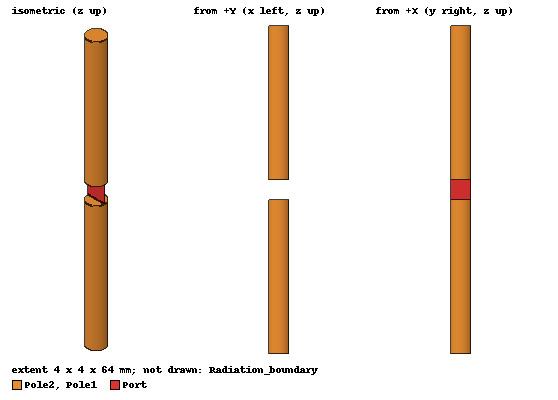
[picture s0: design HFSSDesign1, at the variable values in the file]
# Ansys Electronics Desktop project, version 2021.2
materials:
  vacuum: permittivity=1
  copper: permeability=0.999991 conductivity=58000000

design HFSSDesign1 (HFSS, DrivenModal, model units mm)
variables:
  dR = 2mm
  L = 30mm
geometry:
  Pole1 [copper] = cylinder(axis=Z, base_centre=(0mm, 0mm, 2mm), radius=dR, height=L)
  Pole2 [copper] = Pole1.duplicate_around_axis(axis=Y, angle=180deg, total=2)
  Port = rectangle(corner=(0mm, -2mm, -2mm), y_size=4mm, z_size=4mm)
  Radiation_boundary [vacuum] = box(corner=(-40mm, -40mm, -50mm), size=(90mm, 90mm, 120mm))
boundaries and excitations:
  Rad1: Radiation Objects=Radiation_boundary
  Lumped_port: Lumped Port Objects=Port Modes{Mode1{IntLine{middle of Port.edge(z at corner) -> middle of Port.edge(z opposite corner)} CharImp=Zpi RenormImp=73ohm}} Impedance=50ohm
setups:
  Setup1: HfssDrivenAuto AutoSolverSetting="Higher Speed" SaveAnyFields=false Type=Interpolating
    sweep Sweep: 2GHz to 2.5GHz, 100 points;
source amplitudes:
  Lumped_port:1: 1W 0deg
